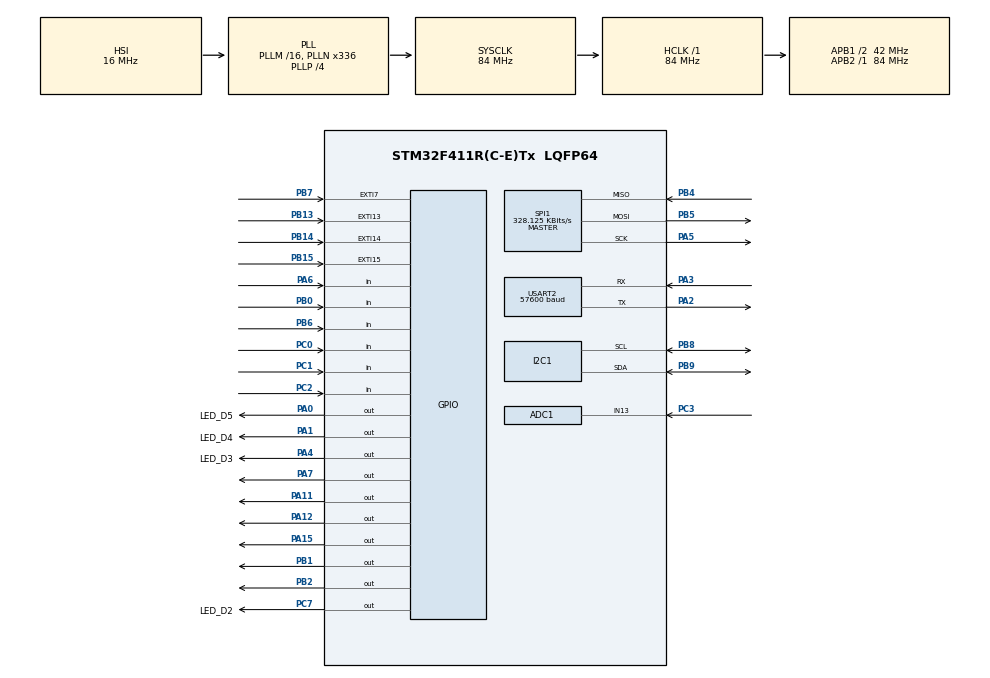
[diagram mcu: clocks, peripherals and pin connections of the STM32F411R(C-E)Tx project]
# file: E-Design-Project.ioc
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ADC1.Channel-2\#ChannelRegularConversion=ADC_CHANNEL_13
ADC1.ContinuousConvMode=ENABLE
ADC1.EnableAnalogWatchDog=false
ADC1.InjNumberOfConversion=0
ADC1.NbrOfConversion=1
ADC1.NbrOfConversionFlag=1
ADC1.Rank-2\#ChannelRegularConversion=1
ADC1.SamplingTime-2\#ChannelRegularConversion=ADC_SAMPLETIME_3CYCLES
ADC1.master=1
Dma.Request0=USART2_RX
Dma.Request1=USART2_TX
Dma.USART2_RX.0.Direction=DMA_PERIPH_TO_MEMORY
Dma.USART2_RX.0.FIFOMode=DMA_FIFOMODE_DISABLE
Dma.USART2_RX.0.Instance=DMA1_Stream5
Dma.USART2_RX.0.MemDataAlignment=DMA_MDATAALIGN_BYTE
Dma.USART2_RX.0.MemInc=DMA_MINC_ENABLE
Dma.USART2_RX.0.Mode=DMA_CIRCULAR
Dma.USART2_RX.0.PeriphDataAlignment=DMA_PDATAALIGN_BYTE
Dma.USART2_RX.0.PeriphInc=DMA_PINC_DISABLE
Dma.USART2_RX.0.Priority=DMA_PRIORITY_LOW
Dma.USART2_TX.1.Direction=DMA_MEMORY_TO_PERIPH
Dma.USART2_TX.1.FIFOMode=DMA_FIFOMODE_DISABLE
Dma.USART2_TX.1.Instance=DMA1_Stream6
Dma.USART2_TX.1.MemDataAlignment=DMA_MDATAALIGN_BYTE
Dma.USART2_TX.1.MemInc=DMA_MINC_ENABLE
Dma.USART2_TX.1.Mode=DMA_NORMAL
Dma.USART2_TX.1.PeriphDataAlignment=DMA_PDATAALIGN_BYTE
Dma.USART2_TX.1.PeriphInc=DMA_PINC_DISABLE
Dma.USART2_TX.1.Priority=DMA_PRIORITY_LOW
Mcu.Family=STM32F4
Mcu.Name=STM32F411R(C-E)Tx
Mcu.Package=LQFP64
NVIC.ADC_IRQn=true\:0\:0\:false\:false\:true\:true\:true\:true
NVIC.DMA1_Stream5_IRQn=true\:0\:0\:false\:false\:true\:false\:true\:true
NVIC.DMA1_Stream6_IRQn=true\:0\:0\:false\:false\:true\:false\:true\:true
NVIC.EXTI15_10_IRQn=true\:0\:0\:false\:false\:true\:true\:true\:true
NVIC.EXTI9_5_IRQn=true\:0\:0\:false\:false\:true\:true\:true\:true
NVIC.PriorityGroup=NVIC_PRIORITYGROUP_0
NVIC.USART2_IRQn=true\:0\:0\:false\:false\:true\:true\:true\:true
PA0-WKUP.GPIO_Label=LED_D5
PA0-WKUP.Signal=GPIO_Output
PA1.GPIO_Label=LED_D4
PA1.Signal=GPIO_Output
PA11.Signal=GPIO_Output
PA12.Signal=GPIO_Output
PA13.GPIO_Label=TMS
PA13.Mode=Serial_Wire
PA13.Signal=SYS_JTMS-SWDIO
PA14.GPIO_Label=TCK
PA14.Mode=Serial_Wire
PA14.Signal=SYS_JTCK-SWCLK
PA15.PinState=GPIO_PIN_SET
PA15.Signal=GPIO_Output
PA2.Mode=Asynchronous
PA2.Signal=USART2_TX
PA3.Mode=Asynchronous
PA3.Signal=USART2_RX
PA4.GPIO_Label=LED_D3
PA4.Signal=GPIO_Output
PA5.Mode=Full_Duplex_Master
PA5.Signal=SPI1_SCK
PA6.GPIO_PuPd=GPIO_PULLDOWN
PA6.Signal=GPIO_Input
PA7.GPIO_Speed=GPIO_SPEED_FREQ_HIGH
PA7.Signal=GPIO_Output
PB0.GPIO_PuPd=GPIO_PULLDOWN
PB0.Signal=GPIO_Input
PB1.Signal=GPIO_Output
PB13.GPIO_ModeDefaultEXTI=GPIO_MODE_IT_FALLING
PB13.GPIO_PuPd=GPIO_PULLUP
PB13.Signal=GPXTI13
PB14.GPIO_ModeDefaultEXTI=GPIO_MODE_IT_FALLING
PB14.GPIO_PuPd=GPIO_PULLUP
PB14.Signal=GPXTI14
PB15.GPIO_ModeDefaultEXTI=GPIO_MODE_IT_FALLING
PB15.GPIO_PuPd=GPIO_PULLUP
PB15.Signal=GPXTI15
PB2.Signal=GPIO_Output
PB3.GPIO_Label=SWO
PB3.Signal=SYS_JTDO-SWO
PB4.Mode=Full_Duplex_Master
PB4.Signal=SPI1_MISO
PB5.Mode=Full_Duplex_Master
PB5.Signal=SPI1_MOSI
PB6.GPIO_PuPd=GPIO_PULLDOWN
PB6.Signal=GPIO_Input
PB7.GPIO_ModeDefaultEXTI=GPIO_MODE_IT_RISING
PB7.GPIO_PuPd=GPIO_NOPULL
PB7.Signal=GPXTI7
PB8.Mode=I2C
PB8.Signal=I2C1_SCL
PB9.Mode=I2C
PB9.Signal=I2C1_SDA
PC0.GPIO_PuPd=GPIO_PULLDOWN
PC0.Signal=GPIO_Input
PC1.GPIO_PuPd=GPIO_PULLDOWN
PC1.Signal=GPIO_Input
PC14-OSC32_IN.Mode=LSE-External-Oscillator
PC14-OSC32_IN.Signal=RCC_OSC32_IN
PC15-OSC32_OUT.Mode=LSE-External-Oscillator
PC15-OSC32_OUT.Signal=RCC_OSC32_OUT
PC2.GPIO_PuPd=GPIO_PULLDOWN
PC2.Signal=GPIO_Input
PC3.Signal=ADCx_IN13
PC7.GPIO_Label=LED_D2
PC7.Signal=GPIO_Output
PH0\ -\ OSC_IN.Mode=HSE-External-Clock-Source
PH0\ -\ OSC_IN.Signal=RCC_OSC_IN
PH1\ -\ OSC_OUT.Mode=HSE-External-Clock-Source
PH1\ -\ OSC_OUT.Signal=RCC_OSC_OUT
ProjectManager.HeapSize=0x200
ProjectManager.StackSize=0x400
ProjectManager.TargetToolchain=STM32CubeIDE
RCC.48MHZClocksFreq_Value=84000000
RCC.AHBFreq_Value=84000000
RCC.APB1CLKDivider=RCC_HCLK_DIV2
RCC.APB1Freq_Value=42000000
RCC.APB1TimFreq_Value=84000000
RCC.APB2Freq_Value=84000000
RCC.APB2TimFreq_Value=84000000
RCC.CortexFreq_Value=84000000
RCC.FLatency-AdvancedSettings=FLASH_LATENCY_2
RCC.HCLKFreq_Value=84000000
RCC.HSE_VALUE=8000000
RCC.HSI_VALUE=16000000
RCC.PLLN=336
RCC.PLLP=RCC_PLLP_DIV4
RCC.SYSCLKFreq_VALUE=84000000
RCC.SYSCLKSource=RCC_SYSCLKSOURCE_PLLCLK
RCC.VCOOutputFreq_Value=336000000
SH.ADCx_IN13.0=ADC1_IN13,IN13
SPI1.BaudRatePrescaler=SPI_BAUDRATEPRESCALER_256
SPI1.CalculateBaudRate=328.125 KBits/s
SPI1.Direction=SPI_DIRECTION_2LINES
SPI1.Mode=SPI_MODE_MASTER
SPI1.VirtualType=VM_MASTER
TIM1.Period=65535
TIM1.Prescaler=83
USART2.BaudRate=57600
USART2.Parity=PARITY_EVEN
USART2.VirtualMode=VM_ASYNC
USART2.WordLength=WORDLENGTH_9B
VP_FATFS_VS_Generic.Mode=User_defined
VP_RTC_VS_RTC_Activate.Mode=RTC_Enabled
VP_TIM1_VS_ClockSourceINT.Mode=Internal
board=NUCLEO-F411RE

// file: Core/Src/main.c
/* USER CODE BEGIN Header */
/**
  ******************************************************************************
  * @file           : main.c
  * @brief          : Main program body
  ******************************************************************************
  * @attention
  *
  * Copyright (c) 2026 STMicroelectronics.
  * All rights reserved.
  *
  * This software is licensed under terms that can be found in the LICENSE file
  * in the root directory of this software component.
  * If no LICENSE file comes with this software, it is provided AS-IS.
  *
  ******************************************************************************
  */
/* USER CODE END Header */
#include "main.h"
#include "fatfs.h"

/* USER CODE BEGIN Includes */
#include <string.h>
#include <stdio.h>
#include <stdlib.h>
#include <stdint.h>

#include "led.h"
#include "button.h"
#include "keypad.h"
#include "oled.h"
#include "uart_system.h"
#include "menu.h"
#include "state_machine.h"
#include "mp6050.h"
#include "sd_logger.h"
#include "fatfs_sd.h"
/* USER CODE END Includes */

ADC_HandleTypeDef hadc1;

I2C_HandleTypeDef hi2c1;

RTC_HandleTypeDef hrtc;

SPI_HandleTypeDef hspi1;

TIM_HandleTypeDef htim1;

UART_HandleTypeDef huart2;
DMA_HandleTypeDef hdma_usart2_rx;
DMA_HandleTypeDef hdma_usart2_tx;

void SystemClock_Config(void);
static void MX_GPIO_Init(void);
static void MX_DMA_Init(void);
static void MX_USART2_UART_Init(void);
static void MX_TIM1_Init(void);
static void MX_RTC_Init(void);
static void MX_I2C1_Init(void);
static void MX_ADC1_Init(void);
static void MX_SPI1_Init(void);

int main(void)
{

  /* MCU Configuration--------------------------------------------------------*/

  /* Reset of all peripherals, Initializes the Flash interface and the Systick. */
  HAL_Init();

  /* USER CODE BEGIN Init */
  uint32_t start = HAL_GetTick();

  /* USER CODE END Init */

  /* Configure the system clock */
  SystemClock_Config();

  /* Initialize all configured peripherals */
  MX_GPIO_Init();
  MX_DMA_Init();
  MX_USART2_UART_Init();
  MX_TIM1_Init();
  MX_RTC_Init();
  MX_I2C1_Init();
  MX_ADC1_Init();
  MX_FATFS_Init();
  MX_SPI1_Init();
  UART_init(&g_uart2, &huart2);
  /* USER CODE BEGIN 2 */
  keypad_init();
  button_init();
  LED_init();
  temperature_init();
  date_init();
  distance_init();
  light_init();
  const char *student_number = "*28118944#\n";
  while (HAL_GetTick() - start < 150);
  UART_transmit(&g_uart2, (uint8_t *)student_number, strlen(student_number));

  OLED_init();
  MPU6050_ready = MPU6050_Init();
  sd_card_ready = SD_Logger_Init();

  if(MPU6050_ready)
	  MPU6050_CalibrateGravityOnStartup();

  SD_Logger_ClearFile();
  /* USER CODE END 2 */

  /* Infinite loop */
  while (1)
  {
	  	state_machine();
	  	uart_system_update();
  }
}

void SystemClock_Config(void)
{
  RCC_OscInitTypeDef RCC_OscInitStruct = {0};
  RCC_ClkInitTypeDef RCC_ClkInitStruct = {0};

  /** Configure the main internal regulator output voltage
  */
  __HAL_RCC_PWR_CLK_ENABLE();
  __HAL_PWR_VOLTAGESCALING_CONFIG(PWR_REGULATOR_VOLTAGE_SCALE1);

  /** Initializes the RCC Oscillators according to the specified parameters
  * in the RCC_OscInitTypeDef structure.
  */
  RCC_OscInitStruct.OscillatorType = RCC_OSCILLATORTYPE_HSI|RCC_OSCILLATORTYPE_LSI;
  RCC_OscInitStruct.HSIState = RCC_HSI_ON;
  RCC_OscInitStruct.HSICalibrationValue = RCC_HSICALIBRATION_DEFAULT;
  RCC_OscInitStruct.LSIState = RCC_LSI_ON;
  RCC_OscInitStruct.PLL.PLLState = RCC_PLL_ON;
  RCC_OscInitStruct.PLL.PLLSource = RCC_PLLSOURCE_HSI;
  RCC_OscInitStruct.PLL.PLLM = 16;
  RCC_OscInitStruct.PLL.PLLN = 336;
  RCC_OscInitStruct.PLL.PLLP = RCC_PLLP_DIV4;
  RCC_OscInitStruct.PLL.PLLQ = 4;
  if (HAL_RCC_OscConfig(&RCC_OscInitStruct) != HAL_OK)
  {
    Error_Handler();
  }

  /** Initializes the CPU, AHB and APB buses clocks
  */
  RCC_ClkInitStruct.ClockType = RCC_CLOCKTYPE_HCLK|RCC_CLOCKTYPE_SYSCLK
                              |RCC_CLOCKTYPE_PCLK1|RCC_CLOCKTYPE_PCLK2;
  RCC_ClkInitStruct.SYSCLKSource = RCC_SYSCLKSOURCE_PLLCLK;
  RCC_ClkInitStruct.AHBCLKDivider = RCC_SYSCLK_DIV1;
  RCC_ClkInitStruct.APB1CLKDivider = RCC_HCLK_DIV2;
  RCC_ClkInitStruct.APB2CLKDivider = RCC_HCLK_DIV1;

  if (HAL_RCC_ClockConfig(&RCC_ClkInitStruct, FLASH_LATENCY_2) != HAL_OK)
  {
    Error_Handler();
  }
}

static void MX_ADC1_Init(void)
{

  ADC_ChannelConfTypeDef sConfig = {0};

  /** Configure the global features of the ADC (Clock, Resolution, Data Alignment and number of conversion)
  */
  hadc1.Instance = ADC1;
  hadc1.Init.ClockPrescaler = ADC_CLOCK_SYNC_PCLK_DIV4;
  hadc1.Init.Resolution = ADC_RESOLUTION_12B;
  hadc1.Init.ScanConvMode = DISABLE;
  hadc1.Init.ContinuousConvMode = ENABLE;
  hadc1.Init.DiscontinuousConvMode = DISABLE;
  hadc1.Init.ExternalTrigConvEdge = ADC_EXTERNALTRIGCONVEDGE_NONE;
  hadc1.Init.ExternalTrigConv = ADC_SOFTWARE_START;
  hadc1.Init.DataAlign = ADC_DATAALIGN_RIGHT;
  hadc1.Init.NbrOfConversion = 1;
  hadc1.Init.DMAContinuousRequests = DISABLE;
  hadc1.Init.EOCSelection = ADC_EOC_SINGLE_CONV;
  if (HAL_ADC_Init(&hadc1) != HAL_OK)
  {
    Error_Handler();
  }

  /** Configure for the selected ADC regular channel its corresponding rank in the sequencer and its sample time.
  */
  sConfig.Channel = ADC_CHANNEL_13;
  sConfig.Rank = 1;
  sConfig.SamplingTime = ADC_SAMPLETIME_3CYCLES;
  if (HAL_ADC_ConfigChannel(&hadc1, &sConfig) != HAL_OK)
  {
    Error_Handler();
  }

}

static void MX_I2C1_Init(void)
{

  hi2c1.Instance = I2C1;
  hi2c1.Init.ClockSpeed = 100000;
  hi2c1.Init.DutyCycle = I2C_DUTYCYCLE_2;
  hi2c1.Init.OwnAddress1 = 0;
  hi2c1.Init.AddressingMode = I2C_ADDRESSINGMODE_7BIT;
  hi2c1.Init.DualAddressMode = I2C_DUALADDRESS_DISABLE;
  hi2c1.Init.OwnAddress2 = 0;
  hi2c1.Init.GeneralCallMode = I2C_GENERALCALL_DISABLE;
  hi2c1.Init.NoStretchMode = I2C_NOSTRETCH_DISABLE;
  if (HAL_I2C_Init(&hi2c1) != HAL_OK)
  {
    Error_Handler();
  }

}

static void MX_RTC_Init(void)
{

  /** Initialize RTC Only
  */
  hrtc.Instance = RTC;
  hrtc.Init.HourFormat = RTC_HOURFORMAT_24;
  hrtc.Init.AsynchPrediv = 127;
  hrtc.Init.SynchPrediv = 255;
  hrtc.Init.OutPut = RTC_OUTPUT_DISABLE;
  hrtc.Init.OutPutPolarity = RTC_OUTPUT_POLARITY_HIGH;
  hrtc.Init.OutPutType = RTC_OUTPUT_TYPE_OPENDRAIN;
  if (HAL_RTC_Init(&hrtc) != HAL_OK)
  {
    Error_Handler();
  }
  /* USER CODE BEGIN RTC_Init 2 */
  RTC_DateTypeDef sDate = {0};
  RTC_TimeTypeDef sTime = {0};

  sTime.Hours = 22;
  sTime.Minutes = 12;
  sTime.Seconds = 42;
  sTime.DayLightSaving = RTC_DAYLIGHTSAVING_NONE;
  sTime.StoreOperation = RTC_STOREOPERATION_RESET;
  if(HAL_RTC_SetTime(&hrtc, &sTime, RTC_FORMAT_BIN) != HAL_OK)
  {
      Error_Handler();
  }

  sDate.Year = 26;      // 2026
  sDate.Month = 2;
  sDate.Date = 26;
  sDate.WeekDay = RTC_WEEKDAY_THURSDAY;
  if(HAL_RTC_SetDate(&hrtc, &sDate, RTC_FORMAT_BIN) != HAL_OK)
  {
      Error_Handler();
  }
  /* USER CODE END RTC_Init 2 */

}

static void MX_SPI1_Init(void)
{

  /* SPI1 parameter configuration*/
  hspi1.Instance = SPI1;
  hspi1.Init.Mode = SPI_MODE_MASTER;
  hspi1.Init.Direction = SPI_DIRECTION_2LINES;
  hspi1.Init.DataSize = SPI_DATASIZE_8BIT;
  hspi1.Init.CLKPolarity = SPI_POLARITY_LOW;
  hspi1.Init.CLKPhase = SPI_PHASE_1EDGE;
  hspi1.Init.NSS = SPI_NSS_SOFT;
  hspi1.Init.BaudRatePrescaler = SPI_BAUDRATEPRESCALER_256;
  hspi1.Init.FirstBit = SPI_FIRSTBIT_MSB;
  hspi1.Init.TIMode = SPI_TIMODE_DISABLE;
  hspi1.Init.CRCCalculation = SPI_CRCCALCULATION_DISABLE;
  hspi1.Init.CRCPolynomial = 10;
  if (HAL_SPI_Init(&hspi1) != HAL_OK)
  {
    Error_Handler();
  }

}

static void MX_TIM1_Init(void)
{

  TIM_ClockConfigTypeDef sClockSourceConfig = {0};
  TIM_MasterConfigTypeDef sMasterConfig = {0};

  htim1.Instance = TIM1;
  htim1.Init.Prescaler = 83;
  htim1.Init.CounterMode = TIM_COUNTERMODE_UP;
  htim1.Init.Period = 65535;
  htim1.Init.ClockDivision = TIM_CLOCKDIVISION_DIV1;
  htim1.Init.RepetitionCounter = 0;
  htim1.Init.AutoReloadPreload = TIM_AUTORELOAD_PRELOAD_DISABLE;
  if (HAL_TIM_Base_Init(&htim1) != HAL_OK)
  {
    Error_Handler();
  }
  sClockSourceConfig.ClockSource = TIM_CLOCKSOURCE_INTERNAL;
  if (HAL_TIM_ConfigClockSource(&htim1, &sClockSourceConfig) != HAL_OK)
  {
    Error_Handler();
  }
  sMasterConfig.MasterOutputTrigger = TIM_TRGO_RESET;
  sMasterConfig.MasterSlaveMode = TIM_MASTERSLAVEMODE_DISABLE;
  if (HAL_TIMEx_MasterConfigSynchronization(&htim1, &sMasterConfig) != HAL_OK)
  {
    Error_Handler();
  }

}

static void MX_USART2_UART_Init(void)
{

  huart2.Instance = USART2;
  huart2.Init.BaudRate = 57600;
  huart2.Init.WordLength = UART_WORDLENGTH_9B;
  huart2.Init.StopBits = UART_STOPBITS_1;
  huart2.Init.Parity = UART_PARITY_EVEN;
  huart2.Init.Mode = UART_MODE_TX_RX;
  huart2.Init.HwFlowCtl = UART_HWCONTROL_NONE;
  huart2.Init.OverSampling = UART_OVERSAMPLING_16;
  if (HAL_UART_Init(&huart2) != HAL_OK)
  {
    Error_Handler();
  }
  /* USER CODE BEGIN USART2_Init 2 */
	HAL_NVIC_SetPriority(USART2_IRQn, 0, 0);
	HAL_NVIC_EnableIRQ(USART2_IRQn);
  /* USER CODE END USART2_Init 2 */

}

static void MX_DMA_Init(void)
{

  /* DMA controller clock enable */
  __HAL_RCC_DMA1_CLK_ENABLE();

  /* DMA interrupt init */
  /* DMA1_Stream5_IRQn interrupt configuration */
  HAL_NVIC_SetPriority(DMA1_Stream5_IRQn, 0, 0);
  HAL_NVIC_EnableIRQ(DMA1_Stream5_IRQn);
  /* DMA1_Stream6_IRQn interrupt configuration */
  HAL_NVIC_SetPriority(DMA1_Stream6_IRQn, 0, 0);
  HAL_NVIC_EnableIRQ(DMA1_Stream6_IRQn);

}

static void MX_GPIO_Init(void)
{
  GPIO_InitTypeDef GPIO_InitStruct = {0};

  /* GPIO Ports Clock Enable */
  __HAL_RCC_GPIOC_CLK_ENABLE();
  __HAL_RCC_GPIOH_CLK_ENABLE();
  __HAL_RCC_GPIOA_CLK_ENABLE();
  __HAL_RCC_GPIOB_CLK_ENABLE();

  /*Configure GPIO pin Output Level */
  HAL_GPIO_WritePin(GPIOA, LED_D5_Pin|LED_D4_Pin|LED_D3_Pin|GPIO_PIN_7
                          |GPIO_PIN_11|GPIO_PIN_12, GPIO_PIN_RESET);

  /*Configure GPIO pin Output Level */
  HAL_GPIO_WritePin(GPIOB, GPIO_PIN_1|GPIO_PIN_2, GPIO_PIN_RESET);

  /*Configure GPIO pin Output Level */
  HAL_GPIO_WritePin(LED_D2_GPIO_Port, LED_D2_Pin, GPIO_PIN_RESET);

  /*Configure GPIO pin Output Level */
  HAL_GPIO_WritePin(GPIOA, GPIO_PIN_15, GPIO_PIN_SET);

  /*Configure GPIO pins : PC0 PC1 PC2 */
  GPIO_InitStruct.Pin = GPIO_PIN_0|GPIO_PIN_1|GPIO_PIN_2;
  GPIO_InitStruct.Mode = GPIO_MODE_INPUT;
  GPIO_InitStruct.Pull = GPIO_PULLDOWN;
  HAL_GPIO_Init(GPIOC, &GPIO_InitStruct);

  /*Configure GPIO pins : LED_D5_Pin LED_D4_Pin LED_D3_Pin PA11
                           PA12 PA15 */
  GPIO_InitStruct.Pin = LED_D5_Pin|LED_D4_Pin|LED_D3_Pin|GPIO_PIN_11
                          |GPIO_PIN_12|GPIO_PIN_15;
  GPIO_InitStruct.Mode = GPIO_MODE_OUTPUT_PP;
  GPIO_InitStruct.Pull = GPIO_NOPULL;
  GPIO_InitStruct.Speed = GPIO_SPEED_FREQ_LOW;
  HAL_GPIO_Init(GPIOA, &GPIO_InitStruct);

  /*Configure GPIO pin : PA6 */
  GPIO_InitStruct.Pin = GPIO_PIN_6;
  GPIO_InitStruct.Mode = GPIO_MODE_INPUT;
  GPIO_InitStruct.Pull = GPIO_PULLDOWN;
  HAL_GPIO_Init(GPIOA, &GPIO_InitStruct);

  /*Configure GPIO pin : PA7 */
  GPIO_InitStruct.Pin = GPIO_PIN_7;
  GPIO_InitStruct.Mode = GPIO_MODE_OUTPUT_PP;
  GPIO_InitStruct.Pull = GPIO_NOPULL;
  GPIO_InitStruct.Speed = GPIO_SPEED_FREQ_HIGH;
  HAL_GPIO_Init(GPIOA, &GPIO_InitStruct);

  /*Configure GPIO pins : PB0 PB6 */
  GPIO_InitStruct.Pin = GPIO_PIN_0|GPIO_PIN_6;
  GPIO_InitStruct.Mode = GPIO_MODE_INPUT;
  GPIO_InitStruct.Pull = GPIO_PULLDOWN;
  HAL_GPIO_Init(GPIOB, &GPIO_InitStruct);

  /*Configure GPIO pins : PB1 PB2 */
  GPIO_InitStruct.Pin = GPIO_PIN_1|GPIO_PIN_2;
  GPIO_InitStruct.Mode = GPIO_MODE_OUTPUT_PP;
  GPIO_InitStruct.Pull = GPIO_NOPULL;
  GPIO_InitStruct.Speed = GPIO_SPEED_FREQ_LOW;
  HAL_GPIO_Init(GPIOB, &GPIO_InitStruct);

  /*Configure GPIO pins : PB13 PB14 PB15 */
  GPIO_InitStruct.Pin = GPIO_PIN_13|GPIO_PIN_14|GPIO_PIN_15;
  GPIO_InitStruct.Mode = GPIO_MODE_IT_FALLING;
  GPIO_InitStruct.Pull = GPIO_PULLUP;
  HAL_GPIO_Init(GPIOB, &GPIO_InitStruct);

  /*Configure GPIO pin : LED_D2_Pin */
  GPIO_InitStruct.Pin = LED_D2_Pin;
  GPIO_InitStruct.Mode = GPIO_MODE_OUTPUT_PP;
  GPIO_InitStruct.Pull = GPIO_NOPULL;
  GPIO_InitStruct.Speed = GPIO_SPEED_FREQ_LOW;
  HAL_GPIO_Init(LED_D2_GPIO_Port, &GPIO_InitStruct);

  /*Configure GPIO pin : PB7 */
  GPIO_InitStruct.Pin = GPIO_PIN_7;
  GPIO_InitStruct.Mode = GPIO_MODE_IT_RISING;
  GPIO_InitStruct.Pull = GPIO_NOPULL;
  HAL_GPIO_Init(GPIOB, &GPIO_InitStruct);

  /* EXTI interrupt init*/
  HAL_NVIC_SetPriority(EXTI9_5_IRQn, 0, 0);
  HAL_NVIC_EnableIRQ(EXTI9_5_IRQn);

  HAL_NVIC_SetPriority(EXTI15_10_IRQn, 0, 0);
  HAL_NVIC_EnableIRQ(EXTI15_10_IRQn);

  /* USER CODE BEGIN MX_GPIO_Init_2 */
  HAL_GPIO_WritePin(GPIOA, GPIO_PIN_15, GPIO_PIN_SET);
  /* USER CODE END MX_GPIO_Init_2 */
}

/* USER CODE BEGIN 4 */

void HAL_GPIO_EXTI_Callback(uint16_t GPIO_Pin)
{
    if (GPIO_Pin == GPIO_PIN_7)
    {
        pulse_count++;
    }

    if (GPIO_Pin == GPIO_PIN_13 ||
           GPIO_Pin == GPIO_PIN_14 ||
           GPIO_Pin == GPIO_PIN_15)
   {
	   keypad_event = 1;
   }

   return;
}

void HAL_UART_ErrorCallback(UART_HandleTypeDef *huart)
{
	if (huart->Instance == g_uart2.huart->Instance)
	{
		HAL_UART_AbortReceive(huart);
		HAL_UART_Receive_DMA(huart, g_uart2.rx_buffer, UART_RX_BUFFER_SIZE);
		__HAL_UART_ENABLE_IT(huart, UART_IT_IDLE);
	}

	return;
}
/* USER CODE END 4 */

void Error_Handler(void)
{
  __disable_irq();
  while (1)
  {
  }
}
